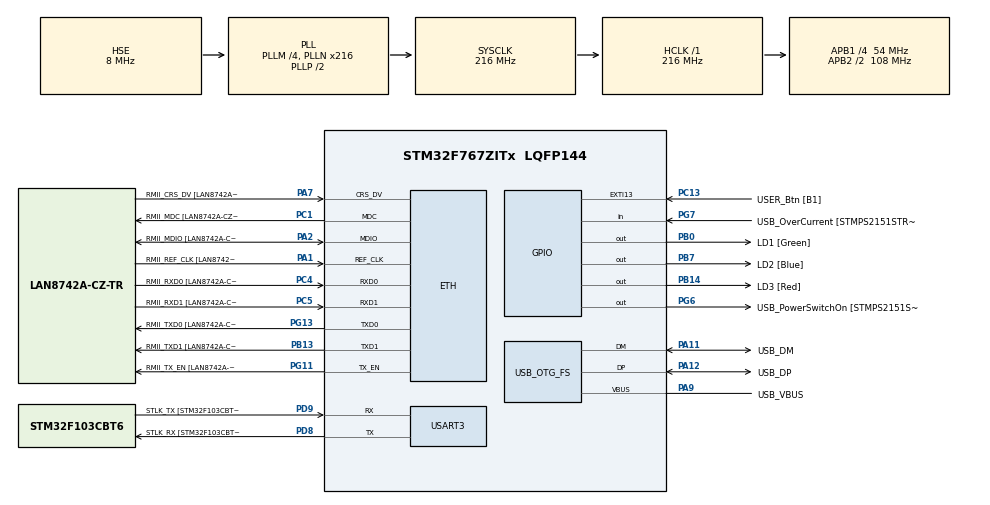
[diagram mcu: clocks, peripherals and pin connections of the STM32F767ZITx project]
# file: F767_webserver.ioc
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CORTEX_M7.CPU_DCache=Disabled
CORTEX_M7.CPU_ICache=Disabled
ETH.MediaInterface=ETH_MEDIA_INTERFACE_RMII
ETH.PHY_Name=LAN8742A_PHY_ADDRESS
ETH.PHY_Value=0
ETH.PhyAddress=0
FATFS._MAX_SS=4096
FREERTOS.Tasks01=WebServerTask,0,2048,StartWebServerTask,Default,NULL,Static,WebServerTaskBuffer,WebServerTaskControlBlock;SSIDTask,0,256,StartSSIDTask,Default,NULL,Static,SSIDTaskBuffer,SSIDTaskControlBlock;my_USB_Task,0,1024,Start_USB_Task,Default,NULL,Static,my_USB_TaskBuffer,my_USB_TaskControlBlock
FREERTOS.configTOTAL_HEAP_SIZE=15360
FREERTOS.configUSE_NEWLIB_REENTRANT=1
LWIP.DEFAULT_THREAD_STACKSIZE=1024
LWIP.GATEWAY_ADDRESS=192.168.018.001
LWIP.IP_ADDRESS=192.168.018.088
LWIP.LWIP_DHCP=0
LWIP.LWIP_HTTPD=1
LWIP.LWIP_HTTPD_CGI=1
LWIP.LWIP_HTTPD_DYNAMIC_HEADERS=1
LWIP.LWIP_HTTPD_MAX_TAG_INSERT_LEN=1024
LWIP.LWIP_HTTPD_SSI=1
LWIP.LWIP_HTTPD_SSI_INCLUDE_TAG=0
LWIP.LWIP_HTTPD_SSI_MULTIPART=1
LWIP.LWIP_HTTPD_SUPPORT_POST=1
LWIP.MEM_SIZE=1024*30
LWIP.NETMASK_ADDRESS=255.255.255.000
LWIP.PBUF_POOL_BUFSIZE=592
LWIP.Version=v2.1.2_Cube
Mcu.Family=STM32F7
Mcu.Name=STM32F767ZITx
Mcu.Package=LQFP144
NVIC.ETH_IRQn=true\:5\:0\:false\:false\:true\:true\:false\:true
NVIC.OTG_FS_IRQn=true\:5\:0\:false\:false\:true\:true\:true\:true
NVIC.PriorityGroup=NVIC_PRIORITYGROUP_4
NVIC.TIM6_DAC_IRQn=true\:15\:0\:false\:false\:true\:false\:false\:true
NVIC.TimeBase=TIM6_DAC_IRQn
NVIC.TimeBaseIP=TIM6
PA1.GPIO_Label=RMII_REF_CLK [LAN8742A-CZ-TR_REFCLK0]
PA1.Mode=RMII
PA1.Signal=ETH_REF_CLK
PA10.GPIO_Label=USB_ID
PA10.Signal=USB_OTG_FS_ID
PA11.GPIO_Label=USB_DM
PA11.Mode=Host_Only
PA11.Signal=USB_OTG_FS_DM
PA12.GPIO_Label=USB_DP
PA12.Mode=Host_Only
PA12.Signal=USB_OTG_FS_DP
PA13.GPIO_Label=TMS
PA13.Mode=Trace_Asynchronous_SW
PA13.Signal=SYS_JTMS-SWDIO
PA14.GPIO_Label=TCK
PA14.Mode=Trace_Asynchronous_SW
PA14.Signal=SYS_JTCK-SWCLK
PA2.GPIO_Label=RMII_MDIO [LAN8742A-CZ-TR_MDIO]
PA2.Mode=RMII
PA2.Signal=ETH_MDIO
PA7.GPIO_Label=RMII_CRS_DV [LAN8742A-CZ-TR_CRS_DV]
PA7.Mode=RMII
PA7.Signal=ETH_CRS_DV
PA8.GPIO_Label=USB_SOF [TP1]
PA8.Signal=USB_OTG_FS_SOF
PA9.GPIO_Label=USB_VBUS
PA9.Mode=Activate_VBUS
PA9.Signal=USB_OTG_FS_VBUS
PB0.GPIO_Label=LD1 [Green]
PB0.Signal=GPIO_Output
PB13.GPIO_Label=RMII_TXD1 [LAN8742A-CZ-TR_TXD1]
PB13.Mode=RMII
PB13.Signal=ETH_TXD1
PB14.GPIO_Label=LD3 [Red]
PB14.Signal=GPIO_Output
PB3.GPIO_Label=SWO
PB3.Mode=Trace_Asynchronous_SW
PB3.Signal=SYS_JTDO-SWO
PB7.GPIO_Label=LD2 [Blue]
PB7.Signal=GPIO_Output
PC1.GPIO_Label=RMII_MDC [LAN8742A-CZ-TR_MDC]
PC1.Mode=RMII
PC1.Signal=ETH_MDC
PC13.GPIO_Label=USER_Btn [B1]
PC13.Signal=GPXTI13
PC14/OSC32_IN.Mode=LSE-External-Oscillator
PC14/OSC32_IN.Signal=RCC_OSC32_IN
PC15/OSC32_OUT.Mode=LSE-External-Oscillator
PC15/OSC32_OUT.Signal=RCC_OSC32_OUT
PC4.GPIO_Label=RMII_RXD0 [LAN8742A-CZ-TR_RXD0]
PC4.Mode=RMII
PC4.Signal=ETH_RXD0
PC5.GPIO_Label=RMII_RXD1 [LAN8742A-CZ-TR_RXD1]
PC5.Mode=RMII
PC5.Signal=ETH_RXD1
PD8.GPIO_Label=STLK_RX [STM32F103CBT6_PA3]
PD8.Mode=Asynchronous
PD8.Signal=USART3_TX
PD9.GPIO_Label=STLK_TX [STM32F103CBT6_PA2]
PD9.Mode=Asynchronous
PD9.Signal=USART3_RX
PG11.GPIO_Label=RMII_TX_EN [LAN8742A-CZ-TR_TXEN]
PG11.Mode=RMII
PG11.Signal=ETH_TX_EN
PG13.GPIO_Label=RMII_TXD0 [LAN8742A-CZ-TR_TXD0]
PG13.Mode=RMII
PG13.Signal=ETH_TXD0
PG6.GPIO_Label=USB_PowerSwitchOn [STMPS2151STR_EN]
PG6.Signal=GPIO_Output
PG7.GPIO_Label=USB_OverCurrent [STMPS2151STR_FAULT]
PG7.Signal=GPIO_Input
PH0/OSC_IN.GPIO_Label=MCO [STM32F103CBT6_PA8]
PH0/OSC_IN.Mode=HSE-External-Clock-Source
PH0/OSC_IN.Signal=RCC_OSC_IN
PH1/OSC_OUT.Mode=HSE-External-Clock-Source
PH1/OSC_OUT.Signal=RCC_OSC_OUT
ProjectManager.HeapSize=0x200
ProjectManager.StackSize=0x400
ProjectManager.TargetToolchain=STM32CubeIDE
RCC.48MHZClocksFreq_Value=24000000
RCC.AHBFreq_Value=216000000
RCC.APB1CLKDivider=RCC_HCLK_DIV4
RCC.APB1Freq_Value=54000000
RCC.APB1TimFreq_Value=108000000
RCC.APB2CLKDivider=RCC_HCLK_DIV2
RCC.APB2Freq_Value=108000000
RCC.APB2TimFreq_Value=216000000
RCC.CortexFreq_Value=216000000
RCC.HCLKFreq_Value=216000000
RCC.HSE_VALUE=8000000
RCC.HSI_VALUE=16000000
RCC.PLLM=4
RCC.PLLMUL=RCC_PLL_MUL9
RCC.PLLN=216
RCC.PLLQ=9
RCC.PRESCALERUSB=RCC_USBCLKSOURCE_PLL_DIV1_5
RCC.SYSCLKFreq_VALUE=216000000
RCC.SYSCLKSource=RCC_SYSCLKSOURCE_PLLCLK
RCC.SYSCLKSourceVirtual=RCC_SYSCLKSOURCE_PLLCLK
RCC.USBFreq_Value=48000000
RCC.VCOOutputFreq_Value=432000000
USART3.VirtualMode-Asynchronous=VM_ASYNC
USB_HOST.BSP.number=1
USB_HOST.USBH_HandleTypeDef-MSC_FS=hUsbHostFS
USB_HOST.VirtualModeFS=Msc
USB_HOST0.BSP.STBoard=false
USB_HOST0.BSP.api=Unknown
USB_HOST0.BSP.i2caddr=0
USB_HOST0.BSP.instance=PG6
USB_HOST0.BSP.ip=GPIO
USB_HOST0.BSP.mode=Output
USB_HOST0.BSP.name=Drive_VBUS_FS
USB_HOST0.BSP.solution=PG6
USB_OTG_FS.VirtualMode=Host_Only
USB_OTG_FS.phy_itface=HCD_PHY_EMBEDDED
VP_FATFS_VS_USB.Mode=USB
VP_FREERTOS_VS_CMSIS_V1.Mode=CMSIS_V1
VP_LWIP_VS_Enabled.Mode=Enabled
VP_SYS_VS_tim6.Mode=TIM6
VP_USB_HOST_VS_USB_HOST_MSC_FS.Mode=MSC_FS
board=NUCLEO-F767ZI

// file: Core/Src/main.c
/* USER CODE BEGIN Header */
/**
  ******************************************************************************
  * @file           : main.c
  * @brief          : Main program body
  ******************************************************************************
  * @attention
  *
  * Copyright (c) 2022 STMicroelectronics.
  * All rights reserved.
  *
  * This software is licensed under terms that can be found in the LICENSE file
  * in the root directory of this software component.
  * If no LICENSE file comes with this software, it is provided AS-IS.
  *
  ******************************************************************************
  */
/* USER CODE END Header */
#include "main.h"
#include "cmsis_os.h"
#include "fatfs.h"
#include "lwip.h"
#include "usb_host.h"

/* USER CODE BEGIN Includes */
#include "webserver.h"
#include "lwip/apps/httpd.h"
#include <stdio.h>
#include <string.h>

#include "File_Handling.h"
//#include "usbh_cdc.h"
extern USBH_HandleTypeDef hUsbHostFS;
extern ApplicationTypeDef Appli_state;
/* USER CODE END Includes */

UART_HandleTypeDef huart3;

osThreadId WebServerTaskHandle;
uint32_t WebServerTaskBuffer[ 2048 ];
osStaticThreadDef_t WebServerTaskControlBlock;
osThreadId SSIDTaskHandle;
uint32_t SSIDTaskBuffer[ 256 ];
osStaticThreadDef_t SSIDTaskControlBlock;
osThreadId my_USB_TaskHandle;
uint32_t my_USB_TaskBuffer[ 1024 ];
osStaticThreadDef_t my_USB_TaskControlBlock;

void SystemClock_Config(void);
static void MX_GPIO_Init(void);
static void MX_USART3_UART_Init(void);
void StartWebServerTask(void const * argument);
void StartSSIDTask(void const * argument);
void Start_USB_Task(void const * argument);

/* USER CODE BEGIN 0 */
#ifdef __GNUC__
/* With GCC/RAISONANCE, small printf (option LD Linker->Libraries->Small printf set to 'Yes') calls __io_putchar() */
#define PUTCHAR_PROTOTYPE int __io_putchar(int ch)
#else
#define PUTCHAR_PROTOTYPE int fputc(int ch, FILE *f)
#endif /* __GNUC__ */

//////////
extern struct netif gnetif;
extern char randomSSID[27];

unsigned long Ti;
/* USER CODE END 0 */

int main(void)
{

  /* MCU Configuration--------------------------------------------------------*/

  /* Reset of all peripherals, Initializes the Flash interface and the Systick. */
  HAL_Init();

  /* Configure the system clock */
  SystemClock_Config();

  /* Initialize all configured peripherals */
  MX_GPIO_Init();
  MX_USART3_UART_Init();
  MX_FATFS_Init();

  /* Create the thread(s) */
  /* definition and creation of WebServerTask */
  osThreadStaticDef(WebServerTask, StartWebServerTask, osPriorityNormal, 0, 2048, WebServerTaskBuffer, &WebServerTaskControlBlock);
  WebServerTaskHandle = osThreadCreate(osThread(WebServerTask), NULL);

  /* definition and creation of SSIDTask */
  osThreadStaticDef(SSIDTask, StartSSIDTask, osPriorityNormal, 0, 256, SSIDTaskBuffer, &SSIDTaskControlBlock);
  SSIDTaskHandle = osThreadCreate(osThread(SSIDTask), NULL);

  /* definition and creation of my_USB_Task */
  osThreadStaticDef(my_USB_Task, Start_USB_Task, osPriorityNormal, 0, 1024, my_USB_TaskBuffer, &my_USB_TaskControlBlock);
  my_USB_TaskHandle = osThreadCreate(osThread(my_USB_Task), NULL);

  /* Start scheduler */
  osKernelStart();

  /* We should never get here as control is now taken by the scheduler */
  /* Infinite loop */
  while (1)
  {

  }
}

void SystemClock_Config(void)
{
  RCC_OscInitTypeDef RCC_OscInitStruct = {0};
  RCC_ClkInitTypeDef RCC_ClkInitStruct = {0};

  /** Configure LSE Drive Capability
  */
  HAL_PWR_EnableBkUpAccess();
  /** Configure the main internal regulator output voltage
  */
  __HAL_RCC_PWR_CLK_ENABLE();
  __HAL_PWR_VOLTAGESCALING_CONFIG(PWR_REGULATOR_VOLTAGE_SCALE1);
  /** Initializes the RCC Oscillators according to the specified parameters
  * in the RCC_OscInitTypeDef structure.
  */
  RCC_OscInitStruct.OscillatorType = RCC_OSCILLATORTYPE_HSE;
  RCC_OscInitStruct.HSEState = RCC_HSE_BYPASS;
  RCC_OscInitStruct.PLL.PLLState = RCC_PLL_ON;
  RCC_OscInitStruct.PLL.PLLSource = RCC_PLLSOURCE_HSE;
  RCC_OscInitStruct.PLL.PLLM = 4;
  RCC_OscInitStruct.PLL.PLLN = 216;
  RCC_OscInitStruct.PLL.PLLP = RCC_PLLP_DIV2;
  RCC_OscInitStruct.PLL.PLLQ = 9;
  RCC_OscInitStruct.PLL.PLLR = 2;
  if (HAL_RCC_OscConfig(&RCC_OscInitStruct) != HAL_OK)
  {
    Error_Handler();
  }
  /** Activate the Over-Drive mode
  */
  if (HAL_PWREx_EnableOverDrive() != HAL_OK)
  {
    Error_Handler();
  }
  /** Initializes the CPU, AHB and APB buses clocks
  */
  RCC_ClkInitStruct.ClockType = RCC_CLOCKTYPE_HCLK|RCC_CLOCKTYPE_SYSCLK
                              |RCC_CLOCKTYPE_PCLK1|RCC_CLOCKTYPE_PCLK2;
  RCC_ClkInitStruct.SYSCLKSource = RCC_SYSCLKSOURCE_PLLCLK;
  RCC_ClkInitStruct.AHBCLKDivider = RCC_SYSCLK_DIV1;
  RCC_ClkInitStruct.APB1CLKDivider = RCC_HCLK_DIV4;
  RCC_ClkInitStruct.APB2CLKDivider = RCC_HCLK_DIV2;

  if (HAL_RCC_ClockConfig(&RCC_ClkInitStruct, FLASH_LATENCY_7) != HAL_OK)
  {
    Error_Handler();
  }
}

static void MX_USART3_UART_Init(void)
{

  huart3.Instance = USART3;
  huart3.Init.BaudRate = 115200;
  huart3.Init.WordLength = UART_WORDLENGTH_8B;
  huart3.Init.StopBits = UART_STOPBITS_1;
  huart3.Init.Parity = UART_PARITY_NONE;
  huart3.Init.Mode = UART_MODE_TX_RX;
  huart3.Init.HwFlowCtl = UART_HWCONTROL_NONE;
  huart3.Init.OverSampling = UART_OVERSAMPLING_16;
  huart3.Init.OneBitSampling = UART_ONE_BIT_SAMPLE_DISABLE;
  huart3.AdvancedInit.AdvFeatureInit = UART_ADVFEATURE_NO_INIT;
  if (HAL_UART_Init(&huart3) != HAL_OK)
  {
    Error_Handler();
  }

}

static void MX_GPIO_Init(void)
{
  GPIO_InitTypeDef GPIO_InitStruct = {0};

  /* GPIO Ports Clock Enable */
  __HAL_RCC_GPIOC_CLK_ENABLE();
  __HAL_RCC_GPIOH_CLK_ENABLE();
  __HAL_RCC_GPIOA_CLK_ENABLE();
  __HAL_RCC_GPIOB_CLK_ENABLE();
  __HAL_RCC_GPIOD_CLK_ENABLE();
  __HAL_RCC_GPIOG_CLK_ENABLE();

  /*Configure GPIO pin Output Level */
  HAL_GPIO_WritePin(GPIOB, LD1_Pin|LD3_Pin|LD2_Pin, GPIO_PIN_RESET);

  /*Configure GPIO pin Output Level */
  HAL_GPIO_WritePin(USB_PowerSwitchOn_GPIO_Port, USB_PowerSwitchOn_Pin, GPIO_PIN_RESET);

  /*Configure GPIO pin : USER_Btn_Pin */
  GPIO_InitStruct.Pin = USER_Btn_Pin;
  GPIO_InitStruct.Mode = GPIO_MODE_IT_RISING;
  GPIO_InitStruct.Pull = GPIO_NOPULL;
  HAL_GPIO_Init(USER_Btn_GPIO_Port, &GPIO_InitStruct);

  /*Configure GPIO pins : LD1_Pin LD3_Pin LD2_Pin */
  GPIO_InitStruct.Pin = LD1_Pin|LD3_Pin|LD2_Pin;
  GPIO_InitStruct.Mode = GPIO_MODE_OUTPUT_PP;
  GPIO_InitStruct.Pull = GPIO_NOPULL;
  GPIO_InitStruct.Speed = GPIO_SPEED_FREQ_LOW;
  HAL_GPIO_Init(GPIOB, &GPIO_InitStruct);

  /*Configure GPIO pin : USB_PowerSwitchOn_Pin */
  GPIO_InitStruct.Pin = USB_PowerSwitchOn_Pin;
  GPIO_InitStruct.Mode = GPIO_MODE_OUTPUT_PP;
  GPIO_InitStruct.Pull = GPIO_NOPULL;
  GPIO_InitStruct.Speed = GPIO_SPEED_FREQ_LOW;
  HAL_GPIO_Init(USB_PowerSwitchOn_GPIO_Port, &GPIO_InitStruct);

  /*Configure GPIO pin : USB_OverCurrent_Pin */
  GPIO_InitStruct.Pin = USB_OverCurrent_Pin;
  GPIO_InitStruct.Mode = GPIO_MODE_INPUT;
  GPIO_InitStruct.Pull = GPIO_NOPULL;
  HAL_GPIO_Init(USB_OverCurrent_GPIO_Port, &GPIO_InitStruct);

}

/* USER CODE BEGIN 4 */
PUTCHAR_PROTOTYPE
{
  /* Place your implementation of fputc here */
  /* e.g. write a character to the USART1 and Loop until the end of transmission */

  HAL_UART_Transmit(&huart3, (uint8_t *)&ch, 1, 0xFFFF);

  return ch;
}

/* USER CODE END 4 */

void StartWebServerTask(void const * argument)
{
  /* init code for LWIP */
  MX_LWIP_Init();

  /* init code for USB_HOST */
  MX_USB_HOST_Init();
  /* USER CODE BEGIN 5 */
  http_server_init();
  /* Infinite loop */
  for(;;)
  {
    osDelay(1);
  }
  /* USER CODE END 5 */
}

void StartSSIDTask(void const * argument)
{
  /* USER CODE BEGIN StartSSIDTask */
  /* Infinite loop */
  for(;;)
  {
	   if (strlen(randomSSID) != 0) {
			  if (HAL_GetTick() - Ti >= 500000){
				  Ti = HAL_GetTick();
				  memset(&randomSSID, '\0', sizeof(randomSSID));
				   //printf("StartTaskToken1 \n");
			  }
	   }
    osDelay(1);
  }
  /* USER CODE END StartSSIDTask */
}

void Start_USB_Task(void const * argument)
{
  /* USER CODE BEGIN Start_USB_Task */

  /* Infinite loop */
  for(;;)
	{
		switch (Appli_state) {
		case APPLICATION_IDLE:
			break;
		case APPLICATION_START:
			break;
		case APPLICATION_READY:
			Mount_USB();

			  Check_USB_Details();   // check space details

			  Scan_USB("/");   // scan for files and directories

			  Create_File("/ROOTFILE.txt");
			  Write_File("/ROOTFILE.txt", "This data should be in root file\n");

			  Create_Dir("/DIR1");
			  Create_File("/DIR1/DIR1FILE.txt");
			  Write_File("/DIR1/DIR1FILE.txt", "This data should be in DIR1 file\n");

			  Create_Dir("/DIR2");
			  Create_Dir("/DIR2/SUBDIR1");
			  Create_File("/DIR2/SUBDIR1/DIR2FILE.txt");
			  Write_File("/DIR2/SUBDIR1/DIR2FILE.txt", "This data should be in DIR2/SUBDIR1 file\n as i have nothing better to write/n so i just wrote this\n");

			  Update_File("/ROOTFILE.txt", "This updated data must be in second line of Root File\n");
			break;
		case APPLICATION_DISCONNECT:
			Unmount_USB();
			break;
		default:
			/* do nothing */
			break;
		}}
  /* USER CODE END Start_USB_Task */
}

void HAL_TIM_PeriodElapsedCallback(TIM_HandleTypeDef *htim)
{
  if (htim->Instance == TIM6) {
    HAL_IncTick();
  }
}

void Error_Handler(void)
{
  __disable_irq();
  while (1)
  {
  }
}
